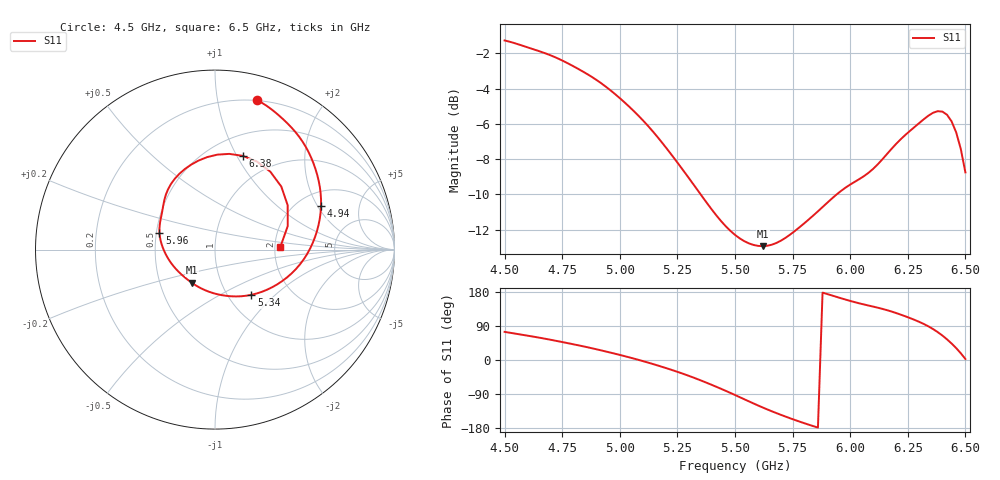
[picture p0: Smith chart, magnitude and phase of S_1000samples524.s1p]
! TOUCHSTONE file generated by CST MICROWAVE STUDIO
! Date and time: Fri Oct 28 11:19:52 2022
! Project name: L.cst
! Parameters = {Di=1.27; Epsilon_r=1.56; InnerDiameter=1.27; Length=2; Lf=10; Lg=60; OuterConductorThickness=0.2921; OuterDiameter=3.6; Wf=3; Wp=41.2; de=1.5; df=6.8; g=0.8; gx=2.31376; gy=2.49042; h=2.34; hf=1.524; px=12.6046; py=12.6777; w=9.7; wx=10.2909; wy=10.1873}
! Header version: 2018
! Port assignment regex: !\s*Touchstone port\s*([0-9]+)\s*=\s*(CST MWS port|CST DS port)\s*([0-9]+|Zmin|Zmax)\s*\(\"(.*)\"\)(\s*mode\s*([0-9]+))?.*
! Touchstone port assignment:
! Touchstone port 1 = CST MWS port 1 ("")
# GHz S DB R 50
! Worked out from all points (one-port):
!   101 points, 4.5 GHz to 6.5 GHz, reference 50 ohm
!   lowest |S11| = -12.9 dB at 5.62 GHz (marker M1), VSWR 1.58, Z = 36.2 - j14 ohm
!   |S11| at or under -10 dB: 5.351 GHz to 5.942 GHz (590.6 MHz wide, 10.5 % of centre)
!   S11 on the Smith chart (normalised r, x): 4.5 GHz: 0.20, +1.30; 4.94 GHz: 2.61, +2.15; 5.34 GHz: 1.28, -0.72; 5.96 GHz: 0.52, +0.11; 6.38 GHz: 0.71, +1.06; 6.5 GHz: 2.15, +0.08
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4.5  -1.26 74.2
4.64  -1.83 60.0
4.76  -2.46 46.2
4.86  -3.18 33.6
4.94  -3.89 22.4
5  -4.54 13.4
5.12  -6.08 -6.4
5.26  -8.37 -33.3
5.34  -9.80 -51.1
5.42  -11.21 -70.9
5.5  -12.30 -92.4
5.62  -12.94 -125.3
5.76  -12.08 -158.3
5.88  -10.72 177.8
5.96  -9.81 163.0
6  -9.44 155.9
6.16  -7.70 131.5
6.2  -7.12 123.8
6.26  -6.39 110.5
6.32  -5.73 94.9
6.36  -5.36 81.5
6.38  -5.28 73.5
6.4  -5.30 64.6
6.42  -5.48 54.6
6.44  -5.85 43.6
6.46  -6.48 31.4
6.48  -7.42 17.9
6.5  -8.75 2.7
